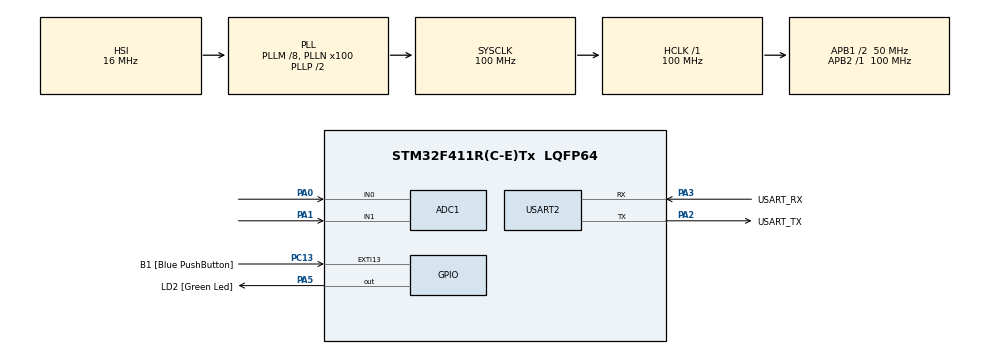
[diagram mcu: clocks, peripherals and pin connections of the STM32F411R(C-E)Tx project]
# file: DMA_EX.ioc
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ADC1.Channel-0\#ChannelRegularConversion=ADC_CHANNEL_0
ADC1.Channel-1\#ChannelRegularConversion=ADC_CHANNEL_1
ADC1.Channel-2\#ChannelRegularConversion=ADC_CHANNEL_TEMPSENSOR
ADC1.Channel-3\#ChannelRegularConversion=ADC_CHANNEL_VREFINT
ADC1.ContinuousConvMode=ENABLE
ADC1.DMAContinuousRequests=ENABLE
ADC1.NbrOfConversion=4
ADC1.NbrOfConversionFlag=1
ADC1.Rank-0\#ChannelRegularConversion=1
ADC1.Rank-1\#ChannelRegularConversion=2
ADC1.Rank-2\#ChannelRegularConversion=3
ADC1.Rank-3\#ChannelRegularConversion=4
ADC1.SamplingTime-0\#ChannelRegularConversion=ADC_SAMPLETIME_144CYCLES
ADC1.SamplingTime-1\#ChannelRegularConversion=ADC_SAMPLETIME_144CYCLES
ADC1.SamplingTime-2\#ChannelRegularConversion=ADC_SAMPLETIME_144CYCLES
ADC1.SamplingTime-3\#ChannelRegularConversion=ADC_SAMPLETIME_144CYCLES
ADC1.ScanConvMode=ENABLE
ADC1.master=1
Dma.ADC1.0.Direction=DMA_PERIPH_TO_MEMORY
Dma.ADC1.0.FIFOMode=DMA_FIFOMODE_DISABLE
Dma.ADC1.0.Instance=DMA2_Stream0
Dma.ADC1.0.MemDataAlignment=DMA_MDATAALIGN_WORD
Dma.ADC1.0.MemInc=DMA_MINC_ENABLE
Dma.ADC1.0.Mode=DMA_CIRCULAR
Dma.ADC1.0.PeriphDataAlignment=DMA_PDATAALIGN_WORD
Dma.ADC1.0.PeriphInc=DMA_PINC_DISABLE
Dma.ADC1.0.Priority=DMA_PRIORITY_LOW
Dma.Request0=ADC1
Mcu.Family=STM32F4
Mcu.Name=STM32F411R(C-E)Tx
Mcu.Package=LQFP64
NVIC.DMA2_Stream0_IRQn=true\:0\:0\:false\:false\:true\:false\:true\:true
NVIC.EXTI15_10_IRQn=true\:0\:0\:false\:false\:true\:true\:true\:true
NVIC.PriorityGroup=NVIC_PRIORITYGROUP_0
PA0-WKUP.Signal=ADCx_IN0
PA1.Signal=ADCx_IN1
PA13.GPIO_Label=TMS
PA13.Mode=Serial_Wire
PA13.Signal=SYS_JTMS-SWDIO
PA14.GPIO_Label=TCK
PA14.Mode=Serial_Wire
PA14.Signal=SYS_JTCK-SWCLK
PA2.GPIO_Label=USART_TX
PA2.Mode=Asynchronous
PA2.Signal=USART2_TX
PA3.GPIO_Label=USART_RX
PA3.Mode=Asynchronous
PA3.Signal=USART2_RX
PA5.GPIO_Label=LD2 [Green Led]
PA5.Signal=GPIO_Output
PB3.GPIO_Label=SWO
PB3.Signal=SYS_JTDO-SWO
PC13-ANTI_TAMP.GPIO_Label=B1 [Blue PushButton]
PC13-ANTI_TAMP.GPIO_ModeDefaultEXTI=GPIO_MODE_IT_RISING_FALLING
PC13-ANTI_TAMP.GPIO_PuPd=GPIO_PULLUP
PC13-ANTI_TAMP.Signal=GPXTI13
PC14-OSC32_IN.Mode=LSE-External-Oscillator
PC14-OSC32_IN.Signal=RCC_OSC32_IN
PC15-OSC32_OUT.Mode=LSE-External-Oscillator
PC15-OSC32_OUT.Signal=RCC_OSC32_OUT
PH0\ -\ OSC_IN.Mode=HSE-External-Clock-Source
PH0\ -\ OSC_IN.Signal=RCC_OSC_IN
PH1\ -\ OSC_OUT.Mode=HSE-External-Clock-Source
PH1\ -\ OSC_OUT.Signal=RCC_OSC_OUT
ProjectManager.HeapSize=0x200
ProjectManager.StackSize=0x400
ProjectManager.TargetToolchain=STM32CubeIDE
RCC.48MHZClocksFreq_Value=50000000
RCC.AHBFreq_Value=100000000
RCC.APB1CLKDivider=RCC_HCLK_DIV2
RCC.APB1Freq_Value=50000000
RCC.APB1TimFreq_Value=100000000
RCC.APB2Freq_Value=100000000
RCC.APB2TimFreq_Value=100000000
RCC.CortexFreq_Value=100000000
RCC.FLatency-AdvancedSettings=FLASH_LATENCY_3
RCC.HCLKFreq_Value=100000000
RCC.HSE_VALUE=8000000
RCC.HSI_VALUE=16000000
RCC.PLLM=8
RCC.PLLN=100
RCC.SYSCLKFreq_VALUE=100000000
RCC.SYSCLKSource=RCC_SYSCLKSOURCE_PLLCLK
RCC.VCOOutputFreq_Value=200000000
SH.ADCx_IN0.0=ADC1_IN0,IN0
SH.ADCx_IN1.0=ADC1_IN1,IN1
TIM11.Period=65535
TIM11.Prescaler=9999
USART2.VirtualMode=VM_ASYNC
VP_ADC1_TempSens_Input.Mode=IN-TempSens
VP_ADC1_Vref_Input.Mode=IN-Vrefint
VP_TIM11_VS_ClockSourceINT.Mode=Enable_Timer
board=NUCLEO-F411RE

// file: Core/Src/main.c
/* USER CODE BEGIN Header */
/**
  ******************************************************************************
  * @file           : main.c
  * @brief          : Main program body
  ******************************************************************************
  * @attention
  *
  * Copyright (c) 2022 STMicroelectronics.
  * All rights reserved.
  *
  * This software is licensed under terms that can be found in the LICENSE file
  * in the root directory of this software component.
  * If no LICENSE file comes with this software, it is provided AS-IS.
  *
  ******************************************************************************
  */
/* USER CODE END Header */
#include "main.h"

 ADC_HandleTypeDef hadc1;
DMA_HandleTypeDef hdma_adc1;

TIM_HandleTypeDef htim11;

UART_HandleTypeDef huart2;

/* USER CODE BEGIN PV */
uint32_t ADCData[4]={0};
static uint32_t humanDelay = 0;
static GPIO_PinState BSTATE = 0;
static uint32_t timetimer = 0 , timetimer2 = 0;
uint32_t timeStart = 0,timeStop = 0 ,timeLedOn = 0;
/* USER CODE END PV */

void SystemClock_Config(void);
static void MX_GPIO_Init(void);
static void MX_USART2_UART_Init(void);
static void MX_DMA_Init(void);
static void MX_ADC1_Init(void);
static void MX_TIM11_Init(void);

int main(void)
{

  /* MCU Configuration--------------------------------------------------------*/

  /* Reset of all peripherals, Initializes the Flash interface and the Systick. */
  HAL_Init();

  /* Configure the system clock */
  SystemClock_Config();

  /* Initialize all configured peripherals */
  MX_GPIO_Init();
  MX_USART2_UART_Init();
  MX_DMA_Init();
  MX_ADC1_Init();
  MX_TIM11_Init();
  /* USER CODE BEGIN 2 */
 HAL_ADC_Start_DMA(&hadc1, ADCData, 4);
 HAL_GPIO_WritePin(LD2_GPIO_Port, LD2_Pin, GPIO_PIN_SET);
 HAL_TIM_Base_Start(&htim11);
  /* USER CODE END 2 */

  /* Infinite loop */
  /* USER CODE BEGIN WHILE */
  while (1)
  {
	  BSTATE = HAL_GPIO_ReadPin(GPIOC, GPIO_PIN_13);
	  timetimer = htim11.Instance->CNT;
	  timetimer = timetimer/10;
	  timetimer2 = HAL_GetTick();
    /* USER CODE END WHILE */

  }
}

void SystemClock_Config(void)
{
  RCC_OscInitTypeDef RCC_OscInitStruct = {0};
  RCC_ClkInitTypeDef RCC_ClkInitStruct = {0};

  /** Configure the main internal regulator output voltage
  */
  __HAL_RCC_PWR_CLK_ENABLE();
  __HAL_PWR_VOLTAGESCALING_CONFIG(PWR_REGULATOR_VOLTAGE_SCALE1);

  /** Initializes the RCC Oscillators according to the specified parameters
  * in the RCC_OscInitTypeDef structure.
  */
  RCC_OscInitStruct.OscillatorType = RCC_OSCILLATORTYPE_HSI;
  RCC_OscInitStruct.HSIState = RCC_HSI_ON;
  RCC_OscInitStruct.HSICalibrationValue = RCC_HSICALIBRATION_DEFAULT;
  RCC_OscInitStruct.PLL.PLLState = RCC_PLL_ON;
  RCC_OscInitStruct.PLL.PLLSource = RCC_PLLSOURCE_HSI;
  RCC_OscInitStruct.PLL.PLLM = 8;
  RCC_OscInitStruct.PLL.PLLN = 100;
  RCC_OscInitStruct.PLL.PLLP = RCC_PLLP_DIV2;
  RCC_OscInitStruct.PLL.PLLQ = 4;
  if (HAL_RCC_OscConfig(&RCC_OscInitStruct) != HAL_OK)
  {
    Error_Handler();
  }

  /** Initializes the CPU, AHB and APB buses clocks
  */
  RCC_ClkInitStruct.ClockType = RCC_CLOCKTYPE_HCLK|RCC_CLOCKTYPE_SYSCLK
                              |RCC_CLOCKTYPE_PCLK1|RCC_CLOCKTYPE_PCLK2;
  RCC_ClkInitStruct.SYSCLKSource = RCC_SYSCLKSOURCE_PLLCLK;
  RCC_ClkInitStruct.AHBCLKDivider = RCC_SYSCLK_DIV1;
  RCC_ClkInitStruct.APB1CLKDivider = RCC_HCLK_DIV2;
  RCC_ClkInitStruct.APB2CLKDivider = RCC_HCLK_DIV1;

  if (HAL_RCC_ClockConfig(&RCC_ClkInitStruct, FLASH_LATENCY_3) != HAL_OK)
  {
    Error_Handler();
  }
}

static void MX_ADC1_Init(void)
{

  ADC_ChannelConfTypeDef sConfig = {0};

  /** Configure the global features of the ADC (Clock, Resolution, Data Alignment and number of conversion)
  */
  hadc1.Instance = ADC1;
  hadc1.Init.ClockPrescaler = ADC_CLOCK_SYNC_PCLK_DIV4;
  hadc1.Init.Resolution = ADC_RESOLUTION_12B;
  hadc1.Init.ScanConvMode = ENABLE;
  hadc1.Init.ContinuousConvMode = ENABLE;
  hadc1.Init.DiscontinuousConvMode = DISABLE;
  hadc1.Init.ExternalTrigConvEdge = ADC_EXTERNALTRIGCONVEDGE_NONE;
  hadc1.Init.ExternalTrigConv = ADC_SOFTWARE_START;
  hadc1.Init.DataAlign = ADC_DATAALIGN_RIGHT;
  hadc1.Init.NbrOfConversion = 4;
  hadc1.Init.DMAContinuousRequests = ENABLE;
  hadc1.Init.EOCSelection = ADC_EOC_SINGLE_CONV;
  if (HAL_ADC_Init(&hadc1) != HAL_OK)
  {
    Error_Handler();
  }

  /** Configure for the selected ADC regular channel its corresponding rank in the sequencer and its sample time.
  */
  sConfig.Channel = ADC_CHANNEL_0;
  sConfig.Rank = 1;
  sConfig.SamplingTime = ADC_SAMPLETIME_144CYCLES;
  if (HAL_ADC_ConfigChannel(&hadc1, &sConfig) != HAL_OK)
  {
    Error_Handler();
  }

  /** Configure for the selected ADC regular channel its corresponding rank in the sequencer and its sample time.
  */
  sConfig.Channel = ADC_CHANNEL_1;
  sConfig.Rank = 2;
  if (HAL_ADC_ConfigChannel(&hadc1, &sConfig) != HAL_OK)
  {
    Error_Handler();
  }

  /** Configure for the selected ADC regular channel its corresponding rank in the sequencer and its sample time.
  */
  sConfig.Channel = ADC_CHANNEL_TEMPSENSOR;
  sConfig.Rank = 3;
  if (HAL_ADC_ConfigChannel(&hadc1, &sConfig) != HAL_OK)
  {
    Error_Handler();
  }

  /** Configure for the selected ADC regular channel its corresponding rank in the sequencer and its sample time.
  */
  sConfig.Channel = ADC_CHANNEL_VREFINT;
  sConfig.Rank = 4;
  if (HAL_ADC_ConfigChannel(&hadc1, &sConfig) != HAL_OK)
  {
    Error_Handler();
  }

}

static void MX_TIM11_Init(void)
{

  htim11.Instance = TIM11;
  htim11.Init.Prescaler = 9999;
  htim11.Init.CounterMode = TIM_COUNTERMODE_UP;
  htim11.Init.Period = 65535;
  htim11.Init.ClockDivision = TIM_CLOCKDIVISION_DIV1;
  htim11.Init.AutoReloadPreload = TIM_AUTORELOAD_PRELOAD_DISABLE;
  if (HAL_TIM_Base_Init(&htim11) != HAL_OK)
  {
    Error_Handler();
  }

}

static void MX_USART2_UART_Init(void)
{

  huart2.Instance = USART2;
  huart2.Init.BaudRate = 115200;
  huart2.Init.WordLength = UART_WORDLENGTH_8B;
  huart2.Init.StopBits = UART_STOPBITS_1;
  huart2.Init.Parity = UART_PARITY_NONE;
  huart2.Init.Mode = UART_MODE_TX_RX;
  huart2.Init.HwFlowCtl = UART_HWCONTROL_NONE;
  huart2.Init.OverSampling = UART_OVERSAMPLING_16;
  if (HAL_UART_Init(&huart2) != HAL_OK)
  {
    Error_Handler();
  }

}

static void MX_DMA_Init(void)
{

  /* DMA controller clock enable */
  __HAL_RCC_DMA2_CLK_ENABLE();

  /* DMA interrupt init */
  /* DMA2_Stream0_IRQn interrupt configuration */
  HAL_NVIC_SetPriority(DMA2_Stream0_IRQn, 0, 0);
  HAL_NVIC_EnableIRQ(DMA2_Stream0_IRQn);

}

static void MX_GPIO_Init(void)
{
  GPIO_InitTypeDef GPIO_InitStruct = {0};

  /* GPIO Ports Clock Enable */
  __HAL_RCC_GPIOC_CLK_ENABLE();
  __HAL_RCC_GPIOH_CLK_ENABLE();
  __HAL_RCC_GPIOA_CLK_ENABLE();
  __HAL_RCC_GPIOB_CLK_ENABLE();

  /*Configure GPIO pin Output Level */
  HAL_GPIO_WritePin(LD2_GPIO_Port, LD2_Pin, GPIO_PIN_RESET);

  /*Configure GPIO pin : B1_Pin */
  GPIO_InitStruct.Pin = B1_Pin;
  GPIO_InitStruct.Mode = GPIO_MODE_IT_RISING_FALLING;
  GPIO_InitStruct.Pull = GPIO_PULLUP;
  HAL_GPIO_Init(B1_GPIO_Port, &GPIO_InitStruct);

  /*Configure GPIO pin : LD2_Pin */
  GPIO_InitStruct.Pin = LD2_Pin;
  GPIO_InitStruct.Mode = GPIO_MODE_OUTPUT_PP;
  GPIO_InitStruct.Pull = GPIO_NOPULL;
  GPIO_InitStruct.Speed = GPIO_SPEED_FREQ_LOW;
  HAL_GPIO_Init(LD2_GPIO_Port, &GPIO_InitStruct);

  /* EXTI interrupt init*/
  HAL_NVIC_SetPriority(EXTI15_10_IRQn, 0, 0);
  HAL_NVIC_EnableIRQ(EXTI15_10_IRQn);

}

/* USER CODE BEGIN 4 */

void HAL_GPIO_EXTI_Callback(uint16_t GPIO_Pin) {
	// Base clock 10000 Hz period 65536 cuz can't use base clock 100000 HZ T^T
	if (GPIO_Pin == GPIO_PIN_13) {
		if (HAL_GPIO_ReadPin(GPIOC, GPIO_PIN_13) == GPIO_PIN_RESET) {
			HAL_GPIO_WritePin(LD2_GPIO_Port, LD2_Pin, GPIO_PIN_RESET);
			timeStart = htim11.Instance->CNT;
			// timeStop need to be in unit 10ms
			timeStop = (1000 + (22695477 * ADCData[0] + ADCData[1]) % 1000)*10;
			while((htim11.Instance->CNT-timeStart)<= timeStop){}
			timeLedOn = HAL_GetTick();
			HAL_GPIO_WritePin(LD2_GPIO_Port, LD2_Pin, GPIO_PIN_SET);
		}
		else if (HAL_GPIO_ReadPin(GPIOC, GPIO_PIN_13) == GPIO_PIN_SET) {
			humanDelay = HAL_GetTick() - timeLedOn;
		}
	}
}

/* USER CODE END 4 */

void Error_Handler(void)
{
  __disable_irq();
  while (1)
  {
  }
}
